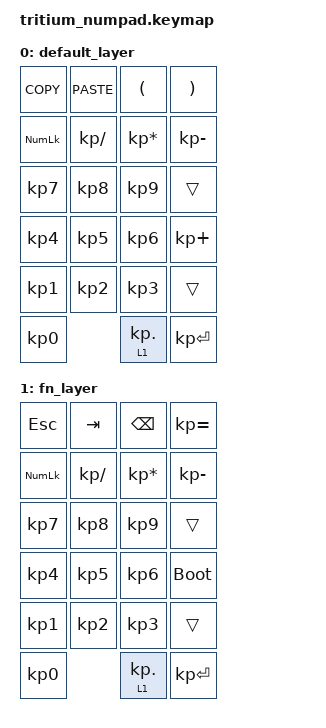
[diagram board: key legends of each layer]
/*
 * Tritium Numpad ZMK Keymap
 * Converted from QMK Configurator JSON
 *
 * Layer 0: Numpad
 * Layer 1: Function (hold LT(1,.) to activate)
 */

#include <behaviors.dtsi>
#include <dt-bindings/zmk/keys.h>
#include <dt-bindings/zmk/bt.h>

/ {
    keymap {
        compatible = "zmk,keymap";

        /*
         * ,-------------------.
         * | CPY | PST |  (  |  )  |
         * | NUM |  /  |  *  |  -  |
         * |  7  |  8  |  9  |     |
         * |  4  |  5  |  6  |  +  |
         * |  1  |  2  |  3  |     |
         * |    0    |LT1(.)| ENT |
         * `-------------------'
         */
        default_layer {
            bindings = <
                &kp K_COPY  &kp K_PASTE &kp LPAR    &kp RPAR
                &kp KP_NUM  &kp KP_SLASH &kp KP_ASTERISK &kp KP_MINUS
                &kp KP_N7   &kp KP_N8   &kp KP_N9   &trans
                &kp KP_N4   &kp KP_N5   &kp KP_N6   &kp KP_PLUS
                &kp KP_N1   &kp KP_N2   &kp KP_N3   &trans
                &kp KP_N0               &lt 1 KP_DOT &kp KP_ENTER
            >;
        };

        /*
         * ,-------------------.
         * | ESC | TAB | BSPC| =   |
         * | NUM |  /  |  *  |  -  |
         * |  7  |  8  |  9  |     |
         * |  4  |  5  |  6  |BOOT |
         * |  1  |  2  |  3  |     |
         * |    0    |LT1(.)| ENT |
         * `-------------------'
         */
        fn_layer {
            bindings = <
                &kp ESC     &kp TAB     &kp BSPC    &kp KP_EQUAL
                &kp KP_NUM  &kp KP_SLASH &kp KP_ASTERISK &kp KP_MINUS
                &kp KP_N7   &kp KP_N8   &kp KP_N9   &trans
                &kp KP_N4   &kp KP_N5   &kp KP_N6   &bootloader
                &kp KP_N1   &kp KP_N2   &kp KP_N3   &trans
                &kp KP_N0               &lt 1 KP_DOT &kp KP_ENTER
            >;
        };
    };
};
